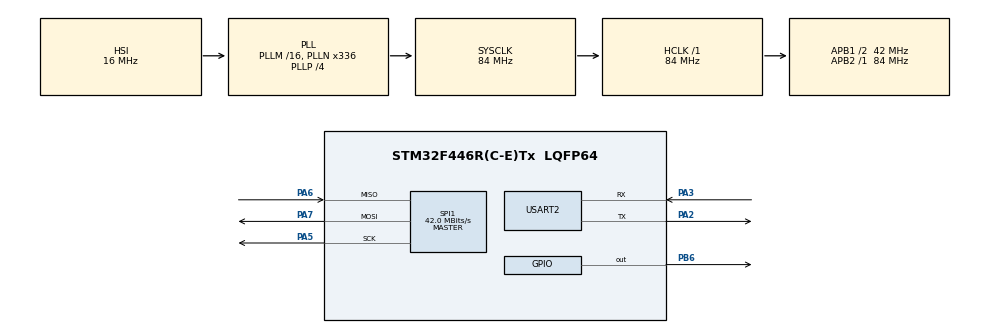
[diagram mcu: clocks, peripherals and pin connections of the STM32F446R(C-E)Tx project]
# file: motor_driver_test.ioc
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Mcu.Family=STM32F4
Mcu.Name=STM32F446R(C-E)Tx
Mcu.Package=LQFP64
NVIC.PriorityGroup=NVIC_PRIORITYGROUP_0
PA2.Mode=Asynchronous
PA2.Signal=USART2_TX
PA3.Mode=Asynchronous
PA3.Signal=USART2_RX
PA5.Mode=Full_Duplex_Master
PA5.Signal=SPI1_SCK
PA6.Mode=Full_Duplex_Master
PA6.Signal=SPI1_MISO
PA7.Mode=Full_Duplex_Master
PA7.Signal=SPI1_MOSI
PB6.Signal=GPIO_Output
ProjectManager.HeapSize=0x200
ProjectManager.StackSize=0x400
ProjectManager.TargetToolchain=STM32CubeIDE
RCC.48MHZClocksFreq_Value=84000000
RCC.AHBFreq_Value=84000000
RCC.APB1CLKDivider=RCC_HCLK_DIV2
RCC.APB1Freq_Value=42000000
RCC.APB1TimFreq_Value=84000000
RCC.APB2Freq_Value=84000000
RCC.APB2TimFreq_Value=84000000
RCC.CortexFreq_Value=84000000
RCC.FLatency-AdvancedSettings=FLASH_LATENCY_2
RCC.HCLKFreq_Value=84000000
RCC.HSE_VALUE=8000000
RCC.HSI_VALUE=16000000
RCC.PLLN=336
RCC.PLLP=RCC_PLLP_DIV4
RCC.SYSCLKFreq_VALUE=84000000
RCC.SYSCLKSource=RCC_SYSCLKSOURCE_PLLCLK
RCC.USBFreq_Value=168000000
RCC.VCOOutputFreq_Value=336000000
SPI1.CalculateBaudRate=42.0 MBits/s
SPI1.Direction=SPI_DIRECTION_2LINES
SPI1.Mode=SPI_MODE_MASTER
SPI1.VirtualType=VM_MASTER
USART2.VirtualMode=VM_ASYNC
board=NUCLEO-F446RE

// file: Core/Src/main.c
/* USER CODE BEGIN Header */
/**
  ******************************************************************************
  * @file           : main.c
  * @brief          : Main program body
  ******************************************************************************
  * @attention
  *
  * Copyright (c) 2026 STMicroelectronics.
  * All rights reserved.
  *
  * This software is licensed under terms that can be found in the LICENSE file
  * in the root directory of this software component.
  * If no LICENSE file comes with this software, it is provided AS-IS.
  *
  ******************************************************************************
  */
/* USER CODE END Header */
#include "main.h"

/* USER CODE BEGIN Includes */
#include <stdio.h>
#include <string.h>
#include "TMC5160.h"

/* USER CODE END Includes */

SPI_HandleTypeDef hspi1;

UART_HandleTypeDef huart2;

/* USER CODE BEGIN PV */
TMC5160_TypeDef joint_test = {
  .hspi = &hspi1,
  .cs_port = GPIOB,
  .cs_pin = GPIO_PIN_6,
  .r_sense = 0.075f,
  .motor_current = 2000
};
/* USER CODE END PV */

void SystemClock_Config(void);
static void MX_GPIO_Init(void);
static void MX_SPI1_Init(void);
static void MX_USART2_UART_Init(void);

int main(void)
{

  /* MCU Configuration--------------------------------------------------------*/

  /* Reset of all peripherals, Initializes the Flash interface and the Systick. */
  HAL_Init();

  /* Configure the system clock */
  SystemClock_Config();

  /* Initialize all configured peripherals */
  MX_GPIO_Init();
  MX_SPI1_Init();
  MX_USART2_UART_Init();
  /* USER CODE BEGIN 2 */

  uint8_t version = TMC5160_TestConnection(&joint_test);

  char msg[50];
  sprintf(msg, "TMC5160 version: 0x%02X\r\n", version);
  HAL_UART_Transmit(&huart2, (uint8_t*)msg, strlen(msg), HAL_MAX_DELAY);

  TMC5160_Init(&joint_test);
  HAL_Delay(10);
  TMC5160_SetCurrent(&joint_test);

  // Test AFTER init
  version = TMC5160_TestConnection(&joint_test);
  sprintf(msg, "After init: 0x%02X\r\n", version);
  HAL_UART_Transmit(&huart2, (uint8_t*)msg, strlen(msg), HAL_MAX_DELAY);

  // Check DRV_STATUS
  uint32_t status = TMC5160_ReadRegister(&joint_test, 0x6F);
  sprintf(msg, "DRV_STATUS: 0x%08lX\r\n", status);
  HAL_UART_Transmit(&huart2, (uint8_t*)msg, strlen(msg), HAL_MAX_DELAY);

  /* USER CODE END 2 */

  /* Infinite loop */
  while (1)
  {

    /* USER CODE BEGIN 3 */
    TMC5160_MoveTo(&joint_test, 51200);
    HAL_Delay(1000);
    TMC5160_MoveTo(&joint_test, 0);
    HAL_Delay(1000);
  }
  /* USER CODE END 3 */
}

void SystemClock_Config(void)
{
  RCC_OscInitTypeDef RCC_OscInitStruct = {0};
  RCC_ClkInitTypeDef RCC_ClkInitStruct = {0};

  /** Configure the main internal regulator output voltage
  */
  __HAL_RCC_PWR_CLK_ENABLE();
  __HAL_PWR_VOLTAGESCALING_CONFIG(PWR_REGULATOR_VOLTAGE_SCALE3);

  /** Initializes the RCC Oscillators according to the specified parameters
  * in the RCC_OscInitTypeDef structure.
  */
  RCC_OscInitStruct.OscillatorType = RCC_OSCILLATORTYPE_HSI;
  RCC_OscInitStruct.HSIState = RCC_HSI_ON;
  RCC_OscInitStruct.HSICalibrationValue = RCC_HSICALIBRATION_DEFAULT;
  RCC_OscInitStruct.PLL.PLLState = RCC_PLL_ON;
  RCC_OscInitStruct.PLL.PLLSource = RCC_PLLSOURCE_HSI;
  RCC_OscInitStruct.PLL.PLLM = 16;
  RCC_OscInitStruct.PLL.PLLN = 336;
  RCC_OscInitStruct.PLL.PLLP = RCC_PLLP_DIV4;
  RCC_OscInitStruct.PLL.PLLQ = 2;
  RCC_OscInitStruct.PLL.PLLR = 2;
  if (HAL_RCC_OscConfig(&RCC_OscInitStruct) != HAL_OK)
  {
    Error_Handler();
  }

  /** Initializes the CPU, AHB and APB buses clocks
  */
  RCC_ClkInitStruct.ClockType = RCC_CLOCKTYPE_HCLK|RCC_CLOCKTYPE_SYSCLK
                              |RCC_CLOCKTYPE_PCLK1|RCC_CLOCKTYPE_PCLK2;
  RCC_ClkInitStruct.SYSCLKSource = RCC_SYSCLKSOURCE_PLLCLK;
  RCC_ClkInitStruct.AHBCLKDivider = RCC_SYSCLK_DIV1;
  RCC_ClkInitStruct.APB1CLKDivider = RCC_HCLK_DIV2;
  RCC_ClkInitStruct.APB2CLKDivider = RCC_HCLK_DIV1;

  if (HAL_RCC_ClockConfig(&RCC_ClkInitStruct, FLASH_LATENCY_2) != HAL_OK)
  {
    Error_Handler();
  }
}

static void MX_SPI1_Init(void)
{

  /* SPI1 parameter configuration*/
  hspi1.Instance = SPI1;
  hspi1.Init.Mode = SPI_MODE_MASTER;
  hspi1.Init.Direction = SPI_DIRECTION_2LINES;
  hspi1.Init.DataSize = SPI_DATASIZE_8BIT;
  hspi1.Init.CLKPolarity = SPI_POLARITY_HIGH;
  hspi1.Init.CLKPhase = SPI_PHASE_2EDGE;
  hspi1.Init.NSS = SPI_NSS_SOFT;
  hspi1.Init.BaudRatePrescaler = SPI_BAUDRATEPRESCALER_2;
  hspi1.Init.FirstBit = SPI_FIRSTBIT_MSB;
  hspi1.Init.TIMode = SPI_TIMODE_DISABLE;
  hspi1.Init.CRCCalculation = SPI_CRCCALCULATION_DISABLE;
  hspi1.Init.CRCPolynomial = 10;
  if (HAL_SPI_Init(&hspi1) != HAL_OK)
  {
    Error_Handler();
  }

}

static void MX_USART2_UART_Init(void)
{

  huart2.Instance = USART2;
  huart2.Init.BaudRate = 115200;
  huart2.Init.WordLength = UART_WORDLENGTH_8B;
  huart2.Init.StopBits = UART_STOPBITS_1;
  huart2.Init.Parity = UART_PARITY_NONE;
  huart2.Init.Mode = UART_MODE_TX_RX;
  huart2.Init.HwFlowCtl = UART_HWCONTROL_NONE;
  huart2.Init.OverSampling = UART_OVERSAMPLING_16;
  if (HAL_UART_Init(&huart2) != HAL_OK)
  {
    Error_Handler();
  }

}

static void MX_GPIO_Init(void)
{
  GPIO_InitTypeDef GPIO_InitStruct = {0};

  /* GPIO Ports Clock Enable */
  __HAL_RCC_GPIOA_CLK_ENABLE();
  __HAL_RCC_GPIOB_CLK_ENABLE();

  /*Configure GPIO pin Output Level */
  HAL_GPIO_WritePin(GPIOB, GPIO_PIN_6, GPIO_PIN_SET);

  /*Configure GPIO pin : PB6 */
  GPIO_InitStruct.Pin = GPIO_PIN_6;
  GPIO_InitStruct.Mode = GPIO_MODE_OUTPUT_PP;
  GPIO_InitStruct.Pull = GPIO_NOPULL;
  GPIO_InitStruct.Speed = GPIO_SPEED_FREQ_LOW;
  HAL_GPIO_Init(GPIOB, &GPIO_InitStruct);

}

void Error_Handler(void)
{
  __disable_irq();
  while (1)
  {
  }
}
